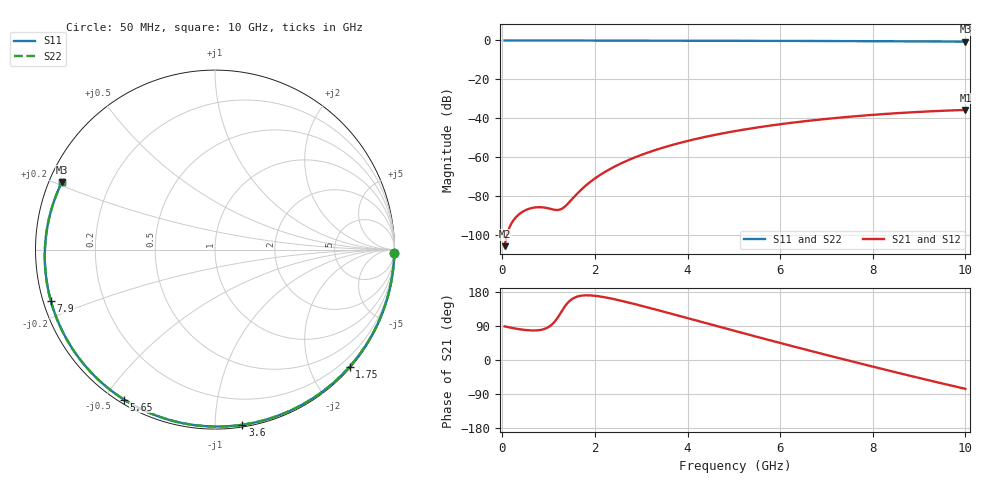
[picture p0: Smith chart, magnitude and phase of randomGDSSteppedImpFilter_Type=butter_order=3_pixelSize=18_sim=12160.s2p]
! freq	dB(S11)	phase(S11)	dB(S12)	phase(S12)
!  dB(S21)	phase(S21)	dB(S22)	phase(S22)
!S-par simulation data
#  GHz  S  DB  R 50
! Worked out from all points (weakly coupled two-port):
!   200 points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, 50 MHz to 10 GHz, reference 50 ohm
!   highest |S21| = -35.75 dB at 10 GHz (marker M1); lowest = -105.9 dB at 50 MHz (marker M2)
!   lowest |S11| = -0.6 dB at 10 GHz (marker M3), VSWR 28.49, Z = 1.83 + j10.5 ohm
!   |S11| at or under -10 dB: nowhere
!   |S22| runs from -0.6 to 0.0 dB; largest |S21 - S12| = 0
!   S11 on the Smith chart (normalised r, x): 50 MHz: 1, -99; 1.75 GHz: 0.02, -2.68; 3.6 GHz: 0.01, -1.17; 5.65 GHz: 0.02, -0.56; 7.9 GHz: 0.02, -0.15; 10 GHz: 0.04, +0.21
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0.05  -0.00 -1.2  -105.85 88.7  -105.85 88.7  -0.00 -1.2
0.45  -0.02 -10.7  -87.98 79.8  -87.98 79.8  -0.02 -10.7
0.8  -0.02 -19.0  -85.79 78.9  -85.79 78.9  -0.02 -19.0
1.55  -0.05 -36.4  -80.52 163.9  -80.52 163.9  -0.05 -36.4
1.6  -0.05 -37.6  -79.25 166.5  -79.25 166.5  -0.05 -37.6
1.75  -0.05 -41.0  -75.78 170.3  -75.78 170.3  -0.05 -41.0
2.05  -0.06 -47.7  -70.18 168.7  -70.18 168.7  -0.06 -47.8
2.25  -0.07 -52.2  -67.19 164.6  -67.19 164.6  -0.07 -52.2
2.45  -0.07 -56.6  -64.60 159.6  -64.60 159.6  -0.07 -56.6
2.9  -0.09 -66.4  -59.83 146.3  -59.83 146.3  -0.09 -66.4
3.4  -0.10 -76.9  -55.67 130.3  -55.67 130.3  -0.10 -76.9
3.6  -0.11 -81.1  -54.25 123.7  -54.25 123.7  -0.11 -81.1
4.3  -0.13 -95.2  -50.05 100.6  -50.05 100.6  -0.13 -95.2
5.05  -0.17 -109.8  -46.54 75.8  -46.54 75.8  -0.17 -109.9
5.65  -0.20 -121.2  -44.27 56.2  -44.27 56.2  -0.20 -121.2
6.2  -0.23 -131.4  -42.50 38.5  -42.50 38.5  -0.23 -131.4
6.7  -0.27 -140.6  -41.11 22.7  -41.11 22.7  -0.27 -140.6
7.3  -0.32 -151.6  -39.67 4.0  -39.67 4.0  -0.32 -151.6
7.9  -0.37 -162.7  -38.46 -14.5  -38.46 -14.5  -0.37 -162.7
8.35  -0.42 -171.1  -37.68 -28.1  -37.68 -28.1  -0.42 -171.1
9.2  -0.51 172.5  -36.51 -53.2  -36.51 -53.2  -0.51 172.5
10  -0.61 156.3  -35.75 -76.1  -35.75 -76.1  -0.61 156.3
